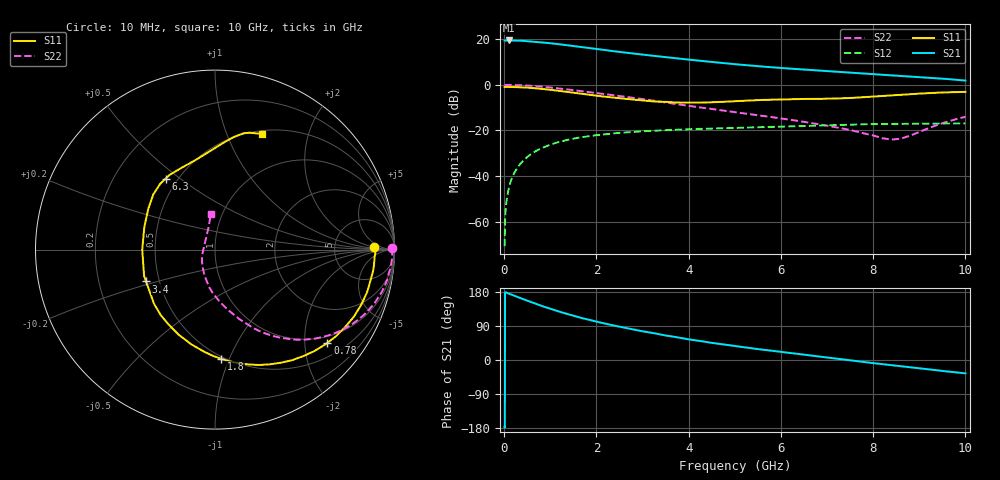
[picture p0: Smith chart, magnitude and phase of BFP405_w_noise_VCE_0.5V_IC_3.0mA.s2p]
! Infineon Technologies  Discrete & RF Semiconductors
! BFP405
! VCE =  0.5 V,  IC =  3.0 mA
! Common Emitter S-Parameters:  Jan 2016
# GHz  S  MA  R  50
!  f  S11  S21  S12  S22
! GHz  MAG  ANG  MAG  ANG  MAG  ANG  MAG  ANG
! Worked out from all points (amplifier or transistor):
!   233 points, 10 MHz to 10 GHz, reference 50 ohm
!   highest |S21| = 19.3 dB at 100 MHz (marker M1)
!   |S21| within 3 dB of that: start of sweep to 1.72 GHz
!   unconditionally stable (mu >= 1): start of sweep to 12.39 MHz; 3.779 GHz to end of sweep
!   at 200 MHz: K = 0.07, MSG = 29.3 dB, |S12| = -39.3 dB
!   at 1.74 GHz: K = 0.45, MSG = 19.5 dB, |S12| = -22.7 dB
!   at 10 GHz: K = 1.61, MAG = 4.8 dB, |S12| = -16.9 dB
!   lowest NFmin = 0.98 dB at 900 MHz
!   S11 on the Smith chart (normalised r, x): 10 MHz: 17, +2; 780 MHz: 0.82, -2.54; 1.8 GHz: 0.48, -0.93; 3.4 GHz: 0.42, -0.18; 6.3 GHz: 0.43, +0.44; 10 GHz: 0.54, +1.34
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0.01  0.8885 0.8  9.166 -177.0  0.0003 33.5  0.9857 0.4
0.02  0.894 -1.1  9.136 178.9  0.0012 87.0  0.9865 -0.4
0.055  0.8898 -3.1  9.119 177.7  0.0031 90.2  0.9878 -1.6
0.1  0.8903 -5.1  9.188 175.1  0.0054 87.0  0.9876 -3.0
0.26  0.8819 -13.4  9.166 167.8  0.0139 82.5  0.9766 -8.1
0.4  0.8707 -20.7  9.025 161.2  0.0213 78.4  0.9655 -12.4
0.6  0.844 -30.7  8.729 152.0  0.0313 72.7  0.939 -18.3
0.78  0.8135 -39.7  8.436 144.2  0.0397 67.8  0.9077 -23.4
1  0.7715 -50.2  7.999 135.0  0.0491 62.0  0.8644 -29.2
1.2  0.7298 -59.7  7.587 127.4  0.0565 57.3  0.822 -34.0
1.68  0.6326 -81.4  6.586 110.8  0.0714 47.3  0.7187 -44.1
1.8  0.6094 -86.8  6.343 107.0  0.0745 45.0  0.6943 -46.3
2.2  0.5437 -104.2  5.635 95.7  0.0831 38.5  0.6176 -52.9
2.56  0.4963 -119.6  5.083 86.4  0.0895 33.4  0.5544 -58.2
3  0.4541 -138.5  4.523 75.8  0.0961 27.9  0.4827 -64.3
3.4  0.4231 -155.2  4.075 67.1  0.1007 23.4  0.4224 -69.4
4  0.4055 180.0  3.514 54.5  0.1066 17.5  0.3445 -77.7
5.1  0.4402 146.2  2.733 35.2  0.1143 8.8  0.2425 -92.9
6.3  0.4818 124.7  2.199 17.1  0.1229 1.4  0.1656 -108.9
6.8  0.489 115.5  2.031 9.6  0.1273 -1.7  0.1378 -117.4
8.4  0.5843 87.2  1.592 -13.8  0.1392 -13.8  0.0633 169.2
10  0.6952 68.0  1.225 -35.3  0.1425 -23.9  0.1987 97.0
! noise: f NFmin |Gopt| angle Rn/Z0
0.9  0.98  0.49  14  0.37
1.8  1.3  0.39  24  0.34
2.4  1.48  0.33  33  0.33
3  1.51  0.31  50  0.31
4  1.71  0.19  75  0.25
5  2.06  0.14  114  0.21
